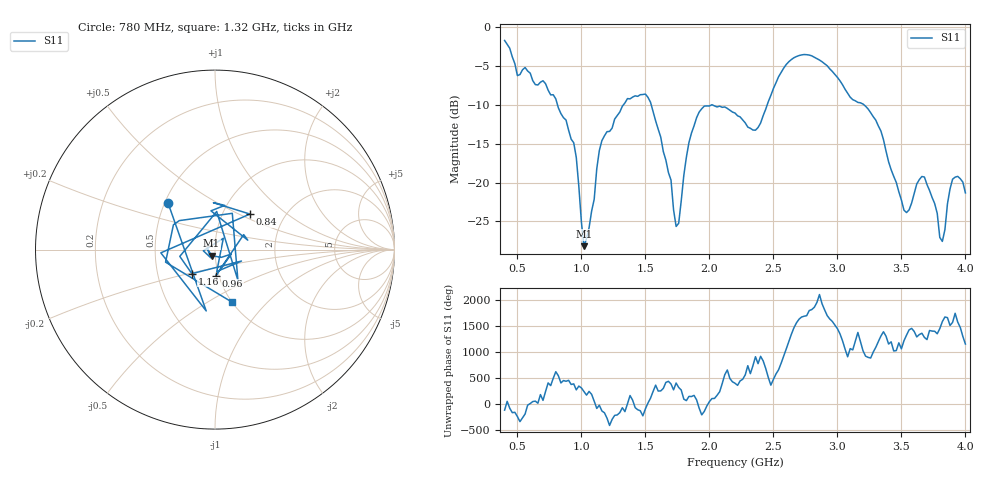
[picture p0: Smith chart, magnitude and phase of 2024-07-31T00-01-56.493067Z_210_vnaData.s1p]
!Created with skrf (http://scikit-rf.org).
# Hz S RI R 50.0
!freq ReS11 ImS11
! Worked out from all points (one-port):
!   181 points, 400 MHz to 4 GHz, reference 50 ohm
!   lowest |S11| = -28.2 dB at 1.02 GHz (marker M1), VSWR 1.08, Z = 48 - j3.26 ohm
!   |S11| at or under -10 dB: 813.2 MHz to 1.328 GHz (515.1 MHz wide, 48.1 % of centre); 1.546 GHz to 2.018 GHz (472.2 MHz wide, 26.5 % of centre); 3.208 GHz to end of sweep (the widest 3 of 4)
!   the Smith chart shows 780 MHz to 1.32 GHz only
!   S11 on the Smith chart (normalised r, x): 780 MHz: 0.52, +0.31; 840 MHz: 1.34, +0.58; 960 MHz: 0.97, -0.29; 1.16 GHz: 0.75, -0.21; 1.32 GHz: 1.00, -0.65
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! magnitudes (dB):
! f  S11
! 400 MHz  -1.7
! 500 MHz  -6.2
! 780 MHz  -8.7
! 840 MHz  -11.1
! 860 MHz  -11.7
! 960 MHz  -16.8
! 1.02 GHz  -28.2
! 1.16 GHz  -14.6
! 1.3 GHz  -10.9
! 1.32 GHz  -10.2
! 1.54 GHz  -9.7
! 1.7 GHz  -19.7
! 1.74 GHz  -25.7
! 1.76 GHz  -25.2
! 1.84 GHz  -14.9
! 1.92 GHz  -10.9
! 2.2 GHz  -11.1
! 2.36 GHz  -13.3
! 2.66 GHz  -3.9
! 2.88 GHz  -4.5
! 3.1 GHz  -9.0
! 3.3 GHz  -12.0
! 3.52 GHz  -23.6
! 3.56 GHz  -23.5
! 3.68 GHz  -19.3
! 3.82 GHz  -27.6
! 3.9 GHz  -19.6
! 4 GHz  -21.3
